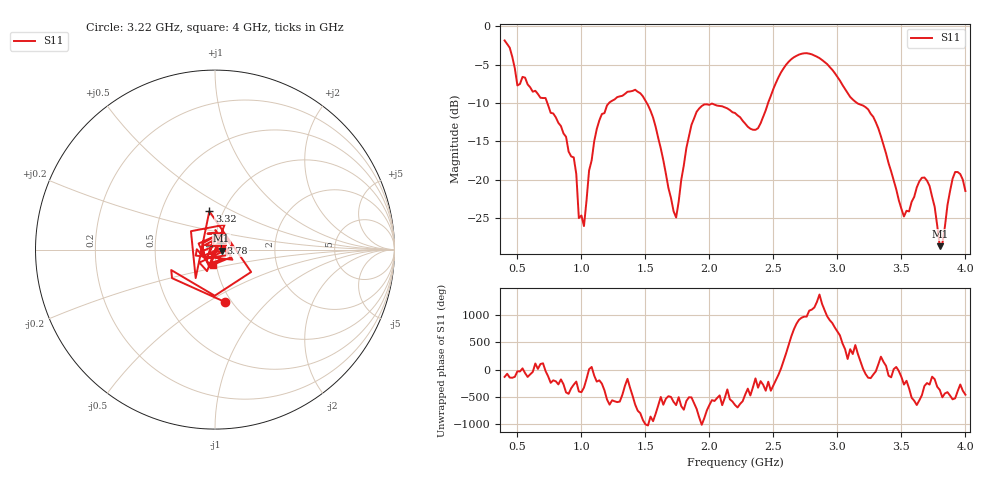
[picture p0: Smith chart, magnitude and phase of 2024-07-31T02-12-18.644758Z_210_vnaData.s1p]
!Created with skrf (http://scikit-rf.org).
# Hz S RI R 50.0
!freq ReS11 ImS11
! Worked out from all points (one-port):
!   181 points, 400 MHz to 4 GHz, reference 50 ohm
!   lowest |S11| = -28.7 dB at 3.8 GHz (marker M1), VSWR 1.08, Z = 53.8 - j0.67 ohm
!   |S11| at or under -10 dB: 733.7 MHz to 1.216 GHz (482.2 MHz wide, 49.5 % of centre); 1.511 GHz to 2.459 GHz (947.9 MHz wide, 47.8 % of centre); 3.154 GHz to end of sweep
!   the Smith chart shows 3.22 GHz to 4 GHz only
!   S11 on the Smith chart (normalised r, x): 3.22 GHz: 0.93, -0.60; 3.32 GHz: 0.86, +0.38; 3.78 GHz: 1.07, +0.08; 4 GHz: 0.97, -0.16
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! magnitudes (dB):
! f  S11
! 400 MHz  -1.8
! 500 MHz  -7.7
! 720 MHz  -9.4
! 860 MHz  -14.0
! 940 MHz  -17.1
! 980 MHz  -25.0
! 1.02 GHz  -26.1
! 1.06 GHz  -18.8
! 1.12 GHz  -13.4
! 1.3 GHz  -9.1
! 1.52 GHz  -10.3
! 1.72 GHz  -24.1
! 1.76 GHz  -22.9
! 1.9 GHz  -11.2
! 2.2 GHz  -11.3
! 2.38 GHz  -13.3
! 2.66 GHz  -4.0
! 2.86 GHz  -4.1
! 3.1 GHz  -9.2
! 3.22 GHz  -10.5
! 3.32 GHz  -13.3
! 3.52 GHz  -24.8
! 3.56 GHz  -24.1
! 3.68 GHz  -19.7
! 3.78 GHz  -26.0
! 3.8 GHz  -28.7
! 3.92 GHz  -19.0
! 4 GHz  -21.5
